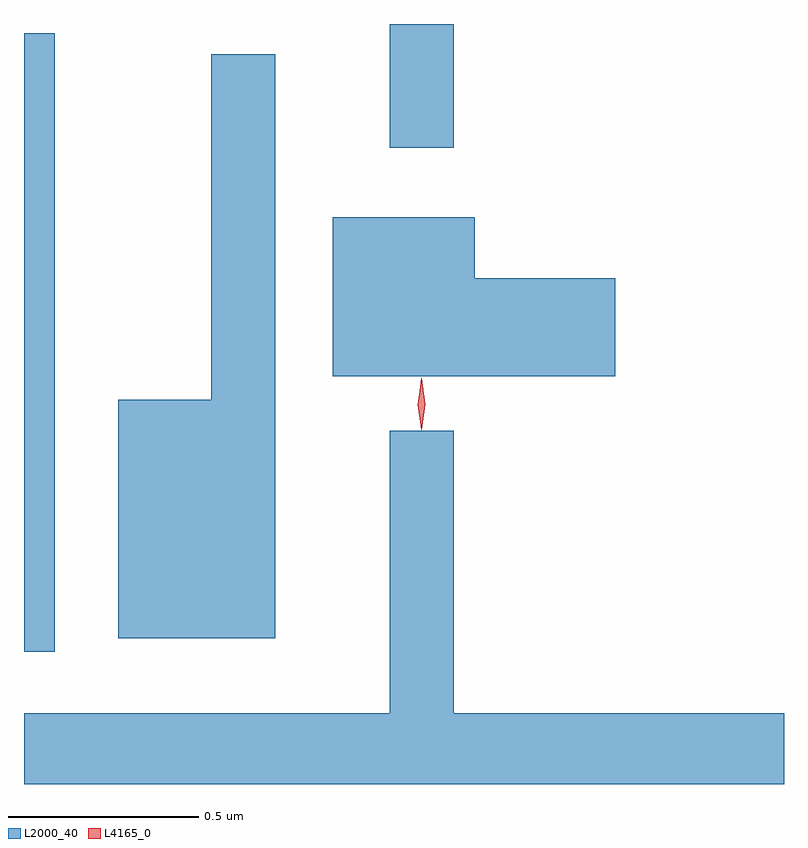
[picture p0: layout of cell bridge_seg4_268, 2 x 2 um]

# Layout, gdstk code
import gdstk
lib = gdstk.Library(unit=1e-6, precision=1e-09)
def R(c, l, rs):  # rectangles x0, y0, x1, y1
    for r in rs: c.add(gdstk.rectangle(r[:2], r[2:], *l))
def P(c, l, *ps):  # polygons
    for p in ps: c.add(gdstk.Polygon(p, *l))
L2000_40 = (2000, 40)
L4165_0 = (4165, 0)

bridge_seg4_268 = lib.new_cell('bridge_seg4_268')
R(bridge_seg4_268, L2000_40, [(758.578,1368.426,758.659,1370.054), (759.541,1369.753,759.709,1370.078)])
P(bridge_seg4_268, L2000_40, [(759.239,1369.998),(759.071,1369.998),(759.071,1369.089),(758.826,1369.089),(758.826,1368.461),(759.239,1368.461)],
  [(760.134,1369.409),(759.764,1369.409),(759.764,1369.569),(759.391,1369.569),(759.391,1369.151),(760.134,1369.151)],
  [(760.578,1368.264),(759.709,1368.264),(759.709,1369.008),(759.541,1369.008),(759.541,1368.264),(758.578,1368.264),(758.578,1368.078),(760.578,1368.078)])
P(bridge_seg4_268, L4165_0, [(759.624,1369.013),(759.614,1369.076),(759.624,1369.139),(759.624,1369.14),(759.625,1369.139),(759.634,1369.076),(759.625,1369.013),(759.625,1369.013)],
  [(759.624,1369.01),(759.615,1369.078),(759.624,1369.146),(759.624,1369.146),(759.625,1369.146),(759.634,1369.078),(759.625,1369.01),(759.625,1369.01)])

lib.write_gds('bridge_seg4_268.gds')
